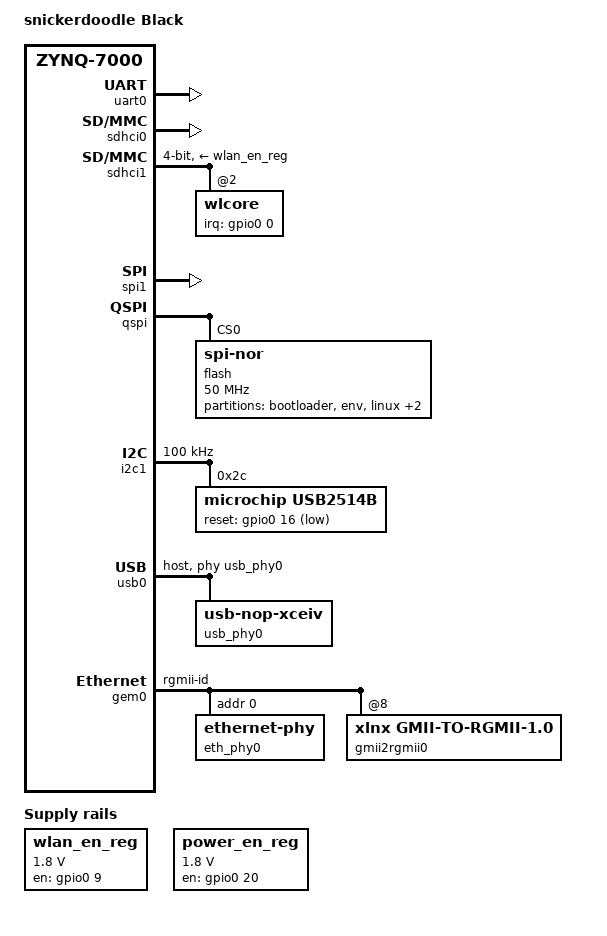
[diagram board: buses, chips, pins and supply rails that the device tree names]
/include/ "system-conf.dtsi"
/ {
    model = "snickerdoodle Black";
    compatible = "krtkl,snickerdoodle-black", "krtkl,snickerdoodle", "xlnx,zynq-7000";
	
    aliases {
		serial0 = &uart0;
		spi0 = &qspi;
		spi1 = &spi1;
		mmc0 = &sdhci0;
		mmc1 = &sdhci1;
	};

    xlnk {
        compatible = "xlnx,xlnk-1.0";
    };

	wlan_en_reg: fixed-regulator-wlen {
		compatible = "regulator-fixed";
		regulator-name = "wlan-en-regulator";
		regulator-min-microvolt = <1800000>;
		regulator-max-microvolt = <1800000>;
		gpio = <&gpio0 9 4>;
		startup-delay-us = <70000>;
		enable-active-high;
	}; 

    power_en_reg: fixed-regulator-powen {
        compatible = "regulator-fixed";
        regulator-name = "power-en-regulator";
        gpio = <&gpio0 20 0>;
        regulator-min-microvolt = <1800000>;
        regulator-max-microvolt = <1800000>;
        regulator-always-on;
        enable-active-high;
    };
};

&uart0 {
	status = "okay";
};

&sdhci0 {
	status = "okay";
};

&sdhci1 {
	status = "okay";
	vmmc-supply = <&wlan_en_reg>;
	bus-width = <4>;
	cap-power-off-card;
	keep-power-in-suspend;
	#address-cells = <1>;
	#size-cells = <0>;	

	wlcore: wlcore@0 {
		reg = <2>;
		interrupt-parent = <&gpio0>;
		interrupts = <0 4>;
	};
};

&wlcore {
	compatible = "wlcore", "ti,wl1837";
};

&spi1 {
	status = "okay";
	num-cs = <1>;
};

&qspi {
	status = "okay";
	is-dual = <0>;
	num-cs = <1>;
	xlnx,qspi-mode = <1>;

	flash@0 {
		#address-cells = <1>;
		#size-cells =<1>;
		compatible = "jedec,spi-nor";
		reg = <0>;
		spi-max-frequency = <50000000>;
		m25p,fast-read;
		
		partition@bootloader {
			label = "bootloader";
			reg = <0x0 0xe0000>;
		};
		partition@env {
			label = "env";
			reg = <0xe0000 0x20000>;
		};
		partition@linux {
			label = "linux";
			reg = <0x100000 0x500000>;
		};
		partition@devicetree {
			label = "devicetree";
			reg = <0x600000 0x620000>;
		};
		partition@rootfs {
			label = "rootfs";
			reg = <0x620000 0x9e0000>;
		};
	};
};

&i2c1 {
    status = "okay";
    clock-frequency = <100000>;
    #address-cells = <1>;
    #size-cells = <0>;

    usb2514b@2c {
        compatible = "microchip,usb2514b";
        reg = <0x2c>;
        reset-gpios = <&gpio0 16 1>;
    };
};

&usb0 {
    status = "okay";
    dr_mode = "host";
    usb-phy = <&usb_phy0>;

    usb_phy0: usb-phy0 {
        compatible = "usb-nop-xceiv";
        #phy-cells = <0>;
        view-port = <0x170>;
        drv-vbus;
    };
};

&gem0 {
    status = "okay";
    phy-mode = "rgmii-id";
    #address-cells = <1>;
    #size-cells = <0>;
    phy-reset-gpio = <&gpio0 19 1>;

    eth_phy0: ethernet-phy@0 {
        reg = <0>;
        device_type = "ethernet-phy";
    };

    gmii2rgmii0: gmiitorgmii@8 {
        compatible = "xlnx,gmii-to-rgmii-1.0";
        reg = <8>;
        phy-handle = <&eth_phy0>;
    };
};
